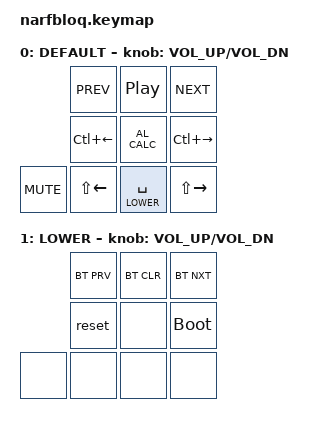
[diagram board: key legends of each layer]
#include <behaviors.dtsi>
#include <dt-bindings/zmk/keys.h>
#include <dt-bindings/zmk/bt.h>
#include <dt-bindings/zmk/outputs.h>

#define DEFAULT 0
#define LOWER   1

/ {
    keymap {
        compatible = "zmk,keymap";
        default_layer {
            label= "DEFAULT";
            bindings = <
                          &kp C_PREV       &kp C_PP         &kp C_NEXT
                          &kp LC(LEFT)     &kp C_AL_CALC    &kp LC(RIGHT)
            &kp C_MUTE    &kp LS(LEFT)     &lt LOWER SPACE  &kp LS(RIGHT)
            >;
            sensor-bindings = <&inc_dec_kp C_VOL_UP C_VOL_DN>;
        };
        lower_layer {
            label = "LOWER";
            bindings = <
                          &bt BT_PRV      &bt BT_CLR        &bt BT_NXT
                          &reset          &none             &bootloader
             &none        &none           &none             &none
            >;
            sensor-bindings = <&inc_dec_kp C_VOL_UP C_VOL_DN>;
        };
    };
};
